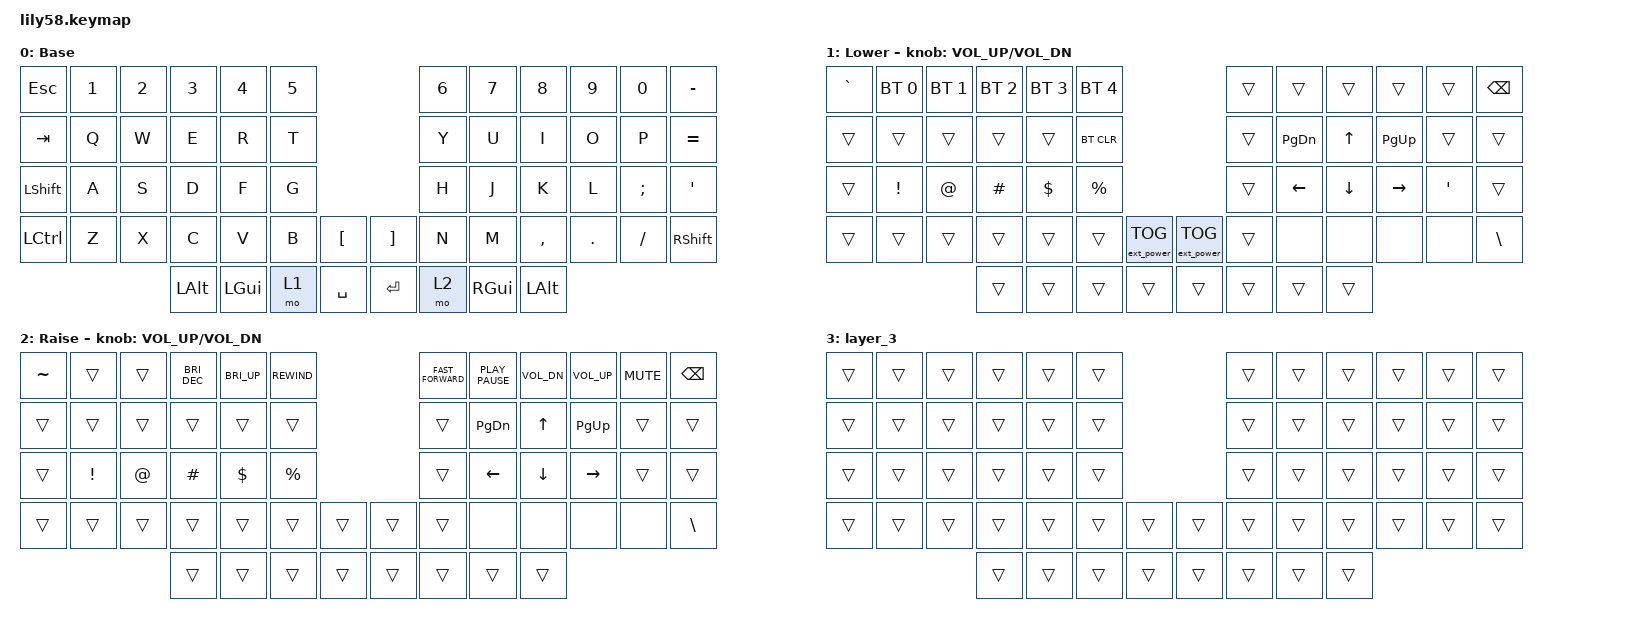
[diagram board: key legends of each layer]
/*
 * Copyright (c) 2020 The ZMK Contributors
 *
 * SPDX-License-Identifier: MIT
 */

#include <behaviors.dtsi>
#include <dt-bindings/zmk/bt.h>
#include <dt-bindings/zmk/ext_power.h>
#include <dt-bindings/zmk/keys.h>

/ {
    keymap {
        compatible = "zmk,keymap";

        default_layer {
            // ------------------------------------------------------------------------------------------------------------
            // |  ESC  |  1  |  2  |  3   |  4   |  5   |                   |  6   |  7    |  8    |  9   |   0   |   `   |
            // |  TAB  |  Q  |  W  |  E   |  R   |  T   |                   |  Y   |  U    |  I    |  O   |   P   |   -   |
            // |  CTRL |  A  |  S  |  D   |  F   |  G   |                   |  H   |  J    |  K    |  L   |   ;   |   '   |
            // | SHIFT |  Z  |  X  |  C   |  V   |  B   |   "["  |  |  "]"  |  N   |  M    |  ,    |  .   |   /   | SHIFT |
            //                     | ALT  | GUI  | LOWER|  SPACE |  | ENTER | RAISE| BSPC  | GUI   |

            display-name = "Base";
            bindings = <
&kp ESC    &kp N1  &kp N2  &kp N3    &kp N4    &kp N5                         &kp N6  &kp N7    &kp N8     &kp N9   &kp N0    &kp MINUS
&kp TAB    &kp Q   &kp W   &kp E     &kp R     &kp T                          &kp Y   &kp U     &kp I      &kp O    &kp P     &kp EQUAL
&kp LSHFT  &kp A   &kp S   &kp D     &kp F     &kp G                          &kp H   &kp J     &kp K      &kp L    &kp SEMI  &kp SQT
&kp LCTRL  &kp Z   &kp X   &kp C     &kp V     &kp B   &kp LBKT     &kp RBKT  &kp N   &kp M     &kp COMMA  &kp DOT  &kp FSLH  &kp RSHFT
                           &kp LALT  &kp LGUI  &mo 1   &kp SPACE    &kp RET   &mo 2   &kp RGUI  &kp LALT
            >;
        };

        lower_layer {
            // ------------------------------------------------------------------------------------------------------------
            // | BTCLR | BT1 | BT2 |  BT3 |  BT4 |  BT5 |                   |      |       |       |      |       |       |
            // |  F1   |  F2 |  F3 |  F4  |  F5  |  F6  |                   |  F7  |  F8   |  F9   |  F10 |  F11  |  F12  |
            // |   `   |  !  |  @  |  #   |  $   |  %   |                   |  ^   |  &    |  *    |  (   |   )   |   ~   |
            // |       |     |     |      |      |      |  EXT_POWER|  |       |      |  _    |  +    |  {   |   }   |  "|"  |
            //                     |      |      |      |        |  |       |      |       |       |

            display-name = "Lower";
            bindings = <
&kp GRAVE  &bt BT_SEL 0  &bt BT_SEL 1  &bt BT_SEL 2  &bt BT_SEL 3  &bt BT_SEL 4                                          &trans  &trans          &trans          &trans           &trans            &kp BACKSPACE
&trans     &trans        &trans        &trans        &trans        &bt BT_CLR                                            &trans  &kp PAGE_DOWN   &kp UP_ARROW    &kp PAGE_UP      &trans            &trans
&trans     &kp EXCL      &kp AT        &kp HASH      &kp DOLLAR    &kp PRCNT                                             &trans  &kp LEFT_ARROW  &kp DOWN_ARROW  &kp RIGHT_ARROW  &kp SINGLE_QUOTE  &trans
&trans     &trans        &trans        &trans        &trans        &trans        &ext_power EP_TOG    &ext_power EP_TOG  &trans  &none           &none           &none            &none             &kp BSLH
                                       &trans        &trans        &trans        &trans               &trans             &trans  &trans          &trans
            >;

            sensor-bindings = <&inc_dec_kp C_VOL_UP C_VOL_DN>;
        };

        raise_layer {
            display-name = "Raise";
            bindings = <
&kp TILDE  &trans    &trans  &kp C_BRI_DEC  &kp C_BRI_UP  &kp C_REWIND                    &kp C_FAST_FORWARD  &kp K_PLAY_PAUSE  &kp C_VOL_DN    &kp C_VOL_UP     &kp K_MUTE  &kp BACKSPACE
&trans     &trans    &trans  &trans         &trans        &trans                          &trans              &kp PAGE_DOWN     &kp UP_ARROW    &kp PAGE_UP      &trans      &trans
&trans     &kp EXCL  &kp AT  &kp HASH       &kp DOLLAR    &kp PRCNT                       &trans              &kp LEFT_ARROW    &kp DOWN_ARROW  &kp RIGHT_ARROW  &trans      &trans
&trans     &trans    &trans  &trans         &trans        &trans        &trans    &trans  &trans              &none             &none           &none            &none       &kp BSLH
                             &trans         &trans        &trans        &trans    &trans  &trans              &trans            &trans
            >;

            sensor-bindings = <&inc_dec_kp C_VOL_UP C_VOL_DN>;
            label = "Raise";
        };

        layer_3 {
            bindings = <
&trans  &trans  &trans  &trans  &trans  &trans                    &trans  &trans  &trans  &trans  &trans  &trans
&trans  &trans  &trans  &trans  &trans  &trans                    &trans  &trans  &trans  &trans  &trans  &trans
&trans  &trans  &trans  &trans  &trans  &trans                    &trans  &trans  &trans  &trans  &trans  &trans
&trans  &trans  &trans  &trans  &trans  &trans  &trans    &trans  &trans  &trans  &trans  &trans  &trans  &trans
                        &trans  &trans  &trans  &trans    &trans  &trans  &trans  &trans
            >;
        };
    };
};
